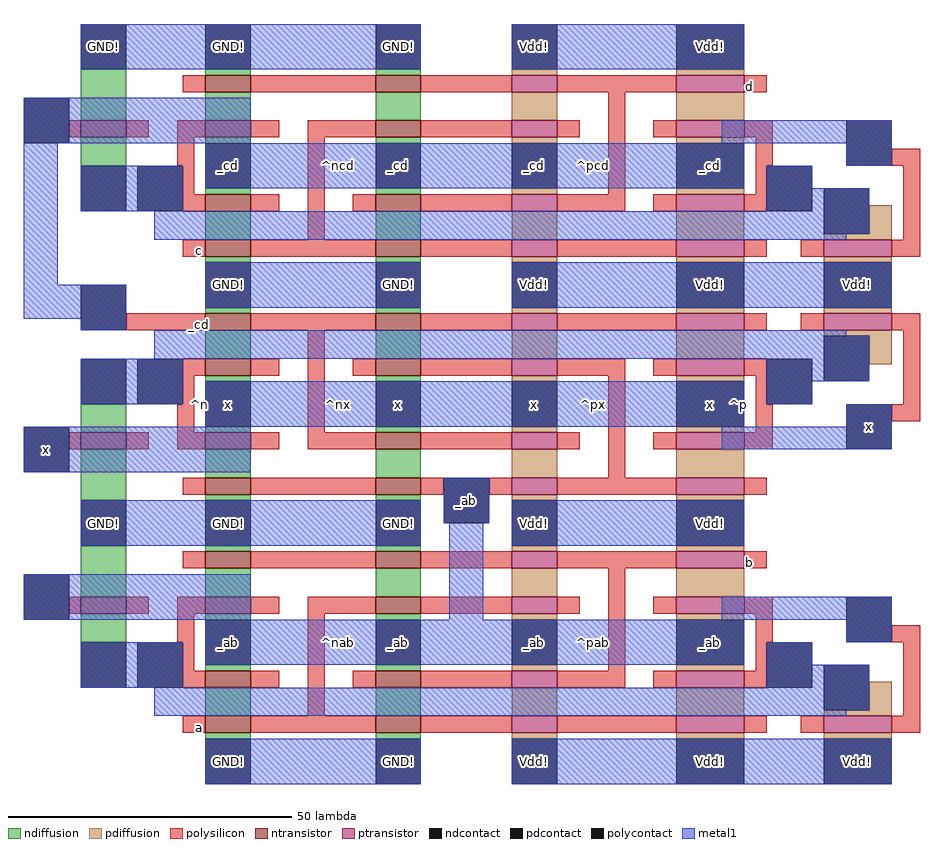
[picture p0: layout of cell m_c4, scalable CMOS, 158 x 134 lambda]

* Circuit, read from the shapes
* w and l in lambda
.subckt m_c4 GND! Vdd! _ab _cd a b c d x
M1 GND! _ab n1 VSUBS nfet w=8 l=3
M2 n2 x GND! VSUBS nfet w=8 l=3
M3 GND! _cd n3 VSUBS nfet w=8 l=3
M4 n4 a GND! VSUBS nfet w=8 l=3
M5 _ab n1 n4 VSUBS nfet w=8 l=3
M6 n5 n1 _ab VSUBS nfet w=8 l=3
M7 GND! b n5 VSUBS nfet w=8 l=3
M8 n6 _ab GND! VSUBS nfet w=8 l=3
M9 x n2 n6 VSUBS nfet w=8 l=3
M10 n7 n2 x VSUBS nfet w=8 l=3
M11 GND! _cd n7 VSUBS nfet w=8 l=3
M12 n8 c GND! VSUBS nfet w=8 l=3
M13 _cd n3 n8 VSUBS nfet w=8 l=3
M14 n9 n3 _cd VSUBS nfet w=8 l=3
M15 GND! d n9 VSUBS nfet w=8 l=3
M16 n10 a GND! VSUBS nfet w=8 l=3
M17 _ab b n10 VSUBS nfet w=8 l=3
M18 n11 a _ab VSUBS nfet w=8 l=3
M19 GND! b n11 VSUBS nfet w=8 l=3
M20 n12 _ab GND! VSUBS nfet w=8 l=3
M21 x _cd n12 VSUBS nfet w=8 l=3
M22 n13 _ab x VSUBS nfet w=8 l=3
M23 GND! _cd n13 VSUBS nfet w=8 l=3
M24 n14 c GND! VSUBS nfet w=8 l=3
M25 _cd d n14 VSUBS nfet w=8 l=3
M26 n15 c _cd VSUBS nfet w=8 l=3
M27 GND! d n15 VSUBS nfet w=8 l=3
M28 n16 a Vdd! NWELL pfet w=8 l=3
M29 _ab b n16 NWELL pfet w=8 l=3
M30 n17 a _ab NWELL pfet w=8 l=3
M31 Vdd! b n17 NWELL pfet w=8 l=3
M32 n18 _ab Vdd! NWELL pfet w=8 l=3
M33 x _cd n18 NWELL pfet w=8 l=3
M34 n19 _ab x NWELL pfet w=8 l=3
M35 Vdd! _cd n19 NWELL pfet w=8 l=3
M36 n20 c Vdd! NWELL pfet w=8 l=3
M37 _cd d n20 NWELL pfet w=8 l=3
M38 n21 c _cd NWELL pfet w=8 l=3
M39 Vdd! d n21 NWELL pfet w=8 l=3
M40 n22 a Vdd! NWELL pfet w=12 l=3
M41 _ab n1 n22 NWELL pfet w=12 l=3
M42 n23 n1 _ab NWELL pfet w=12 l=3
M43 Vdd! b n23 NWELL pfet w=12 l=3
M44 n24 _ab Vdd! NWELL pfet w=12 l=3
M45 x n2 n24 NWELL pfet w=12 l=3
M46 n25 n2 x NWELL pfet w=12 l=3
M47 Vdd! _cd n25 NWELL pfet w=12 l=3
M48 n26 c Vdd! NWELL pfet w=12 l=3
M49 _cd n3 n26 NWELL pfet w=12 l=3
M50 n27 n3 _cd NWELL pfet w=12 l=3
M51 Vdd! d n27 NWELL pfet w=12 l=3
M52 n1 _ab Vdd! NWELL pfet w=12 l=3
M53 Vdd! x n2 NWELL pfet w=12 l=3
M54 n3 _cd Vdd! NWELL pfet w=12 l=3
.ends

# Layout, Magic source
magic
tech scmos
<< ndiffusion >>
rect -8 179 0 188
rect 14 187 22 188
rect 44 187 52 188
rect 14 179 22 184
rect 44 179 52 184
rect -8 171 0 176
rect 14 175 22 176
rect 14 166 22 167
rect 14 158 22 163
rect 44 175 52 176
rect 44 166 52 167
rect 44 158 52 163
rect 14 154 22 155
rect 14 145 22 146
rect 44 154 52 155
rect 44 145 52 146
rect 14 137 22 142
rect -8 124 0 129
rect 14 133 22 134
rect 14 124 22 125
rect 44 137 52 142
rect 44 133 52 134
rect 44 124 52 125
rect -8 112 0 121
rect 14 116 22 121
rect 44 116 52 121
rect -8 95 0 104
rect 14 112 22 113
rect 14 103 22 104
rect 44 112 52 113
rect 44 103 52 104
rect 14 95 22 100
rect 44 95 52 100
rect -8 87 0 92
rect 14 91 22 92
rect 14 82 22 83
rect 14 74 22 79
rect 44 91 52 92
rect 44 82 52 83
rect 44 74 52 79
rect 14 70 22 71
rect 44 70 52 71
<< pdiffusion >>
rect 68 187 76 188
rect 97 187 109 188
rect 68 179 76 184
rect 68 175 76 176
rect 68 166 76 167
rect 97 179 109 184
rect 97 175 109 176
rect 97 166 109 167
rect 68 158 76 163
rect 97 158 109 163
rect 131 159 135 164
rect 123 158 135 159
rect 68 154 76 155
rect 68 145 76 146
rect 97 154 109 155
rect 97 145 109 146
rect 123 154 135 155
rect 123 145 135 146
rect 68 137 76 142
rect 97 137 109 142
rect 123 141 135 142
rect 68 133 76 134
rect 68 124 76 125
rect 68 116 76 121
rect 97 133 109 134
rect 97 124 109 125
rect 131 136 135 141
rect 97 116 109 121
rect 68 112 76 113
rect 68 103 76 104
rect 97 112 109 113
rect 97 103 109 104
rect 68 95 76 100
rect 68 91 76 92
rect 68 82 76 83
rect 97 95 109 100
rect 97 91 109 92
rect 97 82 109 83
rect 68 74 76 79
rect 97 74 109 79
rect 131 75 135 80
rect 123 74 135 75
rect 68 70 76 71
rect 97 70 109 71
rect 123 70 135 71
<< ntransistor >>
rect 14 184 22 187
rect 44 184 52 187
rect -8 176 0 179
rect 14 176 22 179
rect 44 176 52 179
rect 14 163 22 166
rect 44 163 52 166
rect 14 155 22 158
rect 44 155 52 158
rect 14 142 22 145
rect 44 142 52 145
rect 14 134 22 137
rect 44 134 52 137
rect -8 121 0 124
rect 14 121 22 124
rect 44 121 52 124
rect 14 113 22 116
rect 44 113 52 116
rect 14 100 22 103
rect 44 100 52 103
rect -8 92 0 95
rect 14 92 22 95
rect 44 92 52 95
rect 14 79 22 82
rect 44 79 52 82
rect 14 71 22 74
rect 44 71 52 74
<< ptransistor >>
rect 68 184 76 187
rect 97 184 109 187
rect 68 176 76 179
rect 97 176 109 179
rect 68 163 76 166
rect 97 163 109 166
rect 68 155 76 158
rect 97 155 109 158
rect 123 155 135 158
rect 68 142 76 145
rect 97 142 109 145
rect 123 142 135 145
rect 68 134 76 137
rect 97 134 109 137
rect 68 121 76 124
rect 97 121 109 124
rect 68 113 76 116
rect 97 113 109 116
rect 68 100 76 103
rect 97 100 109 103
rect 68 92 76 95
rect 97 92 109 95
rect 68 79 76 82
rect 97 79 109 82
rect 68 71 76 74
rect 97 71 109 74
rect 123 71 135 74
<< polysilicon >>
rect 10 184 14 187
rect 22 184 44 187
rect 52 184 68 187
rect 76 184 97 187
rect 109 184 113 187
rect -10 176 -8 179
rect 0 176 4 179
rect 9 176 14 179
rect 22 176 27 179
rect 32 176 44 179
rect 52 176 68 179
rect 76 176 80 179
rect 9 171 12 176
rect 10 166 12 171
rect 10 163 14 166
rect 22 163 27 166
rect 32 158 35 176
rect 85 166 88 184
rect 93 176 97 179
rect 109 176 114 179
rect 111 171 114 176
rect 135 171 140 174
rect 111 166 113 171
rect 40 163 44 166
rect 52 163 68 166
rect 76 163 88 166
rect 93 163 97 166
rect 109 163 113 166
rect 137 158 140 171
rect 10 155 14 158
rect 22 155 44 158
rect 52 155 68 158
rect 76 155 97 158
rect 109 155 113 158
rect 119 155 123 158
rect 135 155 140 158
rect 0 142 14 145
rect 22 142 44 145
rect 52 142 68 145
rect 76 142 97 145
rect 109 142 113 145
rect 119 142 123 145
rect 135 142 140 145
rect 10 134 14 137
rect 22 134 27 137
rect 10 129 12 134
rect 9 124 12 129
rect 32 124 35 142
rect 40 134 44 137
rect 52 134 68 137
rect 76 134 88 137
rect 93 134 97 137
rect 109 134 113 137
rect -10 121 -8 124
rect 0 121 4 124
rect 9 121 14 124
rect 22 121 27 124
rect 32 121 44 124
rect 52 121 68 124
rect 76 121 80 124
rect 85 116 88 134
rect 111 129 113 134
rect 137 129 140 142
rect 111 124 114 129
rect 93 121 97 124
rect 109 121 114 124
rect 135 126 140 129
rect 10 113 14 116
rect 22 113 44 116
rect 52 113 56 116
rect 64 113 68 116
rect 76 113 97 116
rect 109 113 113 116
rect 10 100 14 103
rect 22 100 44 103
rect 52 100 68 103
rect 76 100 97 103
rect 109 100 113 103
rect -10 92 -8 95
rect 0 92 4 95
rect 9 92 14 95
rect 22 92 27 95
rect 32 92 44 95
rect 52 92 68 95
rect 76 92 80 95
rect 9 87 12 92
rect 10 82 12 87
rect 10 79 14 82
rect 22 79 27 82
rect 32 74 35 92
rect 85 82 88 100
rect 93 92 97 95
rect 109 92 114 95
rect 111 87 114 92
rect 135 87 140 90
rect 111 82 113 87
rect 40 79 44 82
rect 52 79 68 82
rect 76 79 88 82
rect 93 79 97 82
rect 109 79 113 82
rect 137 74 140 87
rect 10 71 14 74
rect 22 71 44 74
rect 52 71 68 74
rect 76 71 97 74
rect 109 71 113 74
rect 119 71 123 74
rect 135 71 140 74
<< ndcontact >>
rect -8 188 0 196
rect 14 188 22 196
rect 44 188 52 196
rect -8 163 0 171
rect 14 167 22 175
rect 44 167 52 175
rect 14 146 22 154
rect 44 146 52 154
rect -8 129 0 137
rect 14 125 22 133
rect 44 125 52 133
rect -8 104 0 112
rect 14 104 22 112
rect 44 104 52 112
rect -8 79 0 87
rect 14 83 22 91
rect 44 83 52 91
rect 14 62 22 70
rect 44 62 52 70
<< pdcontact >>
rect 68 188 76 196
rect 97 188 109 196
rect 68 167 76 175
rect 97 167 109 175
rect 123 159 131 167
rect 68 146 76 154
rect 97 146 109 154
rect 123 146 135 154
rect 68 125 76 133
rect 97 125 109 133
rect 123 133 131 141
rect 68 104 76 112
rect 97 104 109 112
rect 68 83 76 91
rect 97 83 109 91
rect 123 75 131 83
rect 68 62 76 70
rect 97 62 109 70
rect 123 62 135 70
<< polycontact >>
rect -18 175 -10 183
rect 2 163 10 171
rect 127 171 135 179
rect 113 163 121 171
rect -8 142 0 150
rect 2 129 10 137
rect -18 117 -10 125
rect 113 129 121 137
rect 127 121 135 129
rect -18 91 -10 99
rect 56 108 64 116
rect 2 79 10 87
rect 127 87 135 95
rect 113 79 121 87
<< metal1 >>
rect -8 188 52 196
rect 68 188 109 196
rect -18 175 22 183
rect 105 175 135 179
rect -18 150 -12 175
rect -8 163 10 171
rect 14 167 109 175
rect 127 171 135 175
rect 113 167 121 171
rect 113 163 131 167
rect 5 159 131 163
rect 5 158 127 159
rect -18 144 0 150
rect 14 146 52 154
rect 68 146 135 154
rect -8 142 0 144
rect 5 141 127 142
rect 5 137 131 141
rect -8 129 10 137
rect 113 133 131 137
rect 14 125 109 133
rect 113 129 121 133
rect 127 125 135 129
rect -18 117 22 125
rect 105 121 135 125
rect -8 104 52 112
rect 56 108 64 116
rect -18 91 22 99
rect 57 91 63 108
rect 68 104 109 112
rect 105 91 135 95
rect -8 79 10 87
rect 14 83 109 91
rect 127 87 135 91
rect 113 83 121 87
rect 113 79 131 83
rect 5 75 131 79
rect 5 74 127 75
rect 14 62 52 70
rect 68 62 135 70
<< labels >>
rlabel metal1 48 192 48 192 5 GND!
rlabel metal1 72 192 72 192 5 Vdd!
rlabel metal1 48 150 48 150 1 GND!
rlabel metal1 72 150 72 150 1 Vdd!
rlabel metal1 18 192 18 192 5 GND!
rlabel metal1 18 150 18 150 1 GND!
rlabel metal1 -4 192 -4 192 5 GND!
rlabel metal1 103 192 103 192 5 Vdd!
rlabel metal1 103 150 103 150 1 Vdd!
rlabel metal1 129 150 129 150 1 Vdd!
rlabel metal1 48 108 48 108 1 GND!
rlabel metal1 72 108 72 108 1 Vdd!
rlabel metal1 18 108 18 108 1 GND!
rlabel metal1 103 108 103 108 1 Vdd!
rlabel metal1 48 66 48 66 1 GND!
rlabel metal1 72 66 72 66 1 Vdd!
rlabel metal1 18 66 18 66 1 GND!
rlabel metal1 103 66 103 66 1 Vdd!
rlabel metal1 129 66 129 66 1 Vdd!
rlabel metal1 -4 108 -4 108 1 GND!
rlabel polysilicon 13 72 13 72 1 a
rlabel polysilicon 110 101 110 101 1 b
rlabel polysilicon 13 156 13 156 1 c
rlabel polysilicon 110 185 110 185 1 d
rlabel metal1 48 171 48 171 1 _cd
rlabel metal1 18 171 18 171 1 _cd
rlabel metal1 72 171 72 171 1 _cd
rlabel metal1 103 171 103 171 1 _cd
rlabel metal1 18 87 18 87 1 _ab
rlabel metal1 48 87 48 87 1 _ab
rlabel metal1 72 87 72 87 1 _ab
rlabel metal1 103 87 103 87 1 _ab
rlabel metal1 -14 121 -14 121 1 x
rlabel metal1 18 129 18 129 1 x
rlabel metal1 48 129 48 129 1 x
rlabel metal1 72 129 72 129 1 x
rlabel metal1 103 129 103 129 1 x
rlabel metal1 131 125 131 125 1 x
rlabel polysilicon 13 143 13 143 1 _cd
rlabel metal1 60 112 60 112 1 _ab
rlabel space -19 61 45 197 7 ^n
rlabel space 75 61 141 197 3 ^p
rlabel space 31 69 44 105 3 ^nab
rlabel space 76 69 89 105 7 ^pab
rlabel space 31 111 44 147 3 ^nx
rlabel space 76 111 89 147 7 ^px
rlabel space 31 153 44 189 3 ^ncd
rlabel space 76 153 89 189 7 ^pcd
<< end >>
